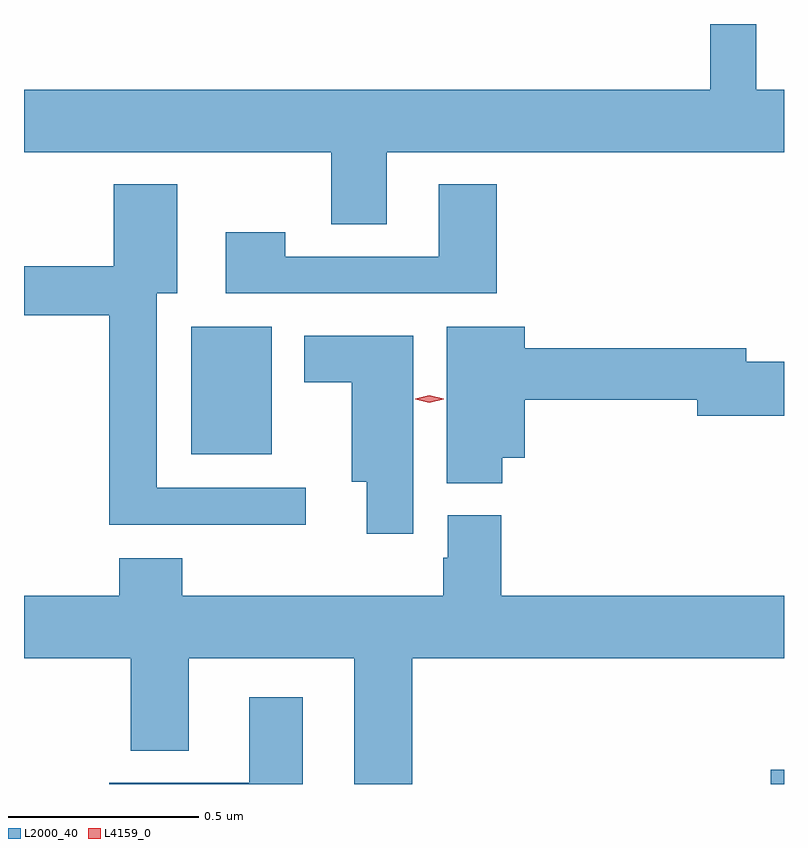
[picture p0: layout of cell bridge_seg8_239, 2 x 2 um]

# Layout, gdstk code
import gdstk
lib = gdstk.Library(unit=1e-6, precision=1e-09)
def R(c, l, rs):  # rectangles x0, y0, x1, y1
    for r in rs: c.add(gdstk.rectangle(r[:2], r[2:], *l))
def P(c, l, *ps):  # polygons
    for p in ps: c.add(gdstk.Polygon(p, *l))
L2000_40 = (2000, 40)
L4159_0 = (4159, 0)

bridge_seg8_239 = lib.new_cell('bridge_seg8_239')
R(bridge_seg8_239, L2000_40, [(290.745,1140.145,290.78,1140.183), (289.22,1141.013,289.432,1141.348)])
P(bridge_seg8_239, L2000_40, [(289.735,1141.808),(290.78,1141.808),(290.78,1141.972),(290.707,1141.972),(290.707,1142.145),(290.586,1142.145),(290.586,1141.972),(288.78,1141.972),(288.78,1141.808),(289.588,1141.808),(289.588,1141.618),(289.735,1141.618)],
  [(289.522,1140.924),(289.129,1140.924),(289.129,1141.436),(289.183,1141.436),(289.183,1141.723),(289.016,1141.723),(289.016,1141.507),(288.78,1141.507),(288.78,1141.378),(289.004,1141.378),(289.004,1140.827),(289.522,1140.827)],
  [(290.024,1141.723),(289.871,1141.723),(289.871,1141.533),(289.467,1141.533),(289.467,1141.597),(289.311,1141.597),(289.311,1141.437),(290.024,1141.437)],
  [(290.039,1141.004),(290.098,1141.004),(290.098,1141.156),(290.552,1141.156),(290.552,1141.114),(290.78,1141.114),(290.78,1141.256),(290.68,1141.256),(290.68,1141.292),(290.098,1141.292),(290.098,1141.348),(289.892,1141.348),(289.892,1140.937),(290.039,1140.937)],
  [(289.804,1141.324),(289.517,1141.324),(289.517,1141.202),(289.643,1141.202),(289.643,1140.941),(289.682,1140.941),(289.682,1140.804),(289.804,1140.804)],
  [(290.78,1140.64),(290.036,1140.64),(290.036,1140.852),(289.895,1140.852),(289.895,1140.741),(289.883,1140.741),(289.883,1140.64),(289.196,1140.64),(289.196,1140.739),(289.031,1140.739),(289.031,1140.64),(288.78,1140.64),(288.78,1140.476),(289.061,1140.476),(289.061,1140.233),(289.213,1140.233),(289.213,1140.476),(289.649,1140.476),(289.649,1140.145),(289.802,1140.145),(289.802,1140.476),(290.78,1140.476)],
  [(289.513,1140.373),(289.373,1140.373),(289.373,1140.148),(289.004,1140.148),(289.004,1140.145),(289.513,1140.145)])
P(bridge_seg8_239, L4159_0, [(289.847,1141.148),(289.809,1141.158),(289.809,1141.158),(289.809,1141.159),(289.847,1141.168),(289.885,1141.159),(289.885,1141.158),(289.885,1141.158)])

lib.write_gds('bridge_seg8_239.gds')
